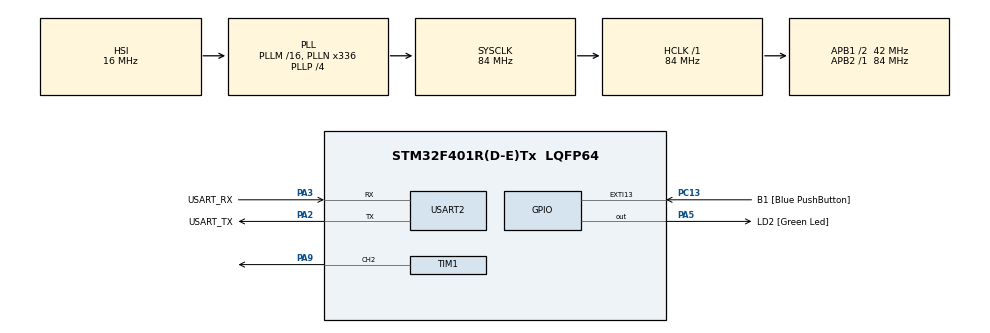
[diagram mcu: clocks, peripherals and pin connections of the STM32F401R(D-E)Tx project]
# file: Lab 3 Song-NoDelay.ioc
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Mcu.Family=STM32F4
Mcu.Name=STM32F401R(D-E)Tx
Mcu.Package=LQFP64
NVIC.EXTI15_10_IRQn=true\:0\:0\:false\:false\:true\:true\:true\:true
NVIC.PriorityGroup=NVIC_PRIORITYGROUP_0
NVIC.TIM2_IRQn=true\:0\:0\:false\:false\:true\:true\:true\:true
PA0-WKUP.Signal=S_TIM2_CH1_ETR
PA13.GPIO_Label=TMS
PA13.Mode=Serial_Wire
PA13.Signal=SYS_JTMS-SWDIO
PA14.GPIO_Label=TCK
PA14.Mode=Serial_Wire
PA14.Signal=SYS_JTCK-SWCLK
PA2.GPIO_Label=USART_TX
PA2.GPIO_Mode=GPIO_MODE_AF_PP
PA2.GPIO_PuPd=GPIO_NOPULL
PA2.GPIO_Speed=GPIO_SPEED_FREQ_LOW
PA2.Mode=Asynchronous
PA2.Signal=USART2_TX
PA3.GPIO_Label=USART_RX
PA3.GPIO_Mode=GPIO_MODE_AF_PP
PA3.GPIO_PuPd=GPIO_NOPULL
PA3.GPIO_Speed=GPIO_SPEED_FREQ_LOW
PA3.Mode=Asynchronous
PA3.Signal=USART2_RX
PA5.GPIO_Label=LD2 [Green Led]
PA5.GPIO_Mode=GPIO_MODE_OUTPUT_PP
PA5.GPIO_PuPd=GPIO_NOPULL
PA5.GPIO_Speed=GPIO_SPEED_FREQ_LOW
PA5.Signal=GPIO_Output
PA9.Signal=S_TIM1_CH2
PB3.GPIO_Label=SWO
PB3.Signal=SYS_JTDO-SWO
PC13-ANTI_TAMP.GPIO_Label=B1 [Blue PushButton]
PC13-ANTI_TAMP.GPIO_ModeDefaultEXTI=GPIO_MODE_IT_FALLING
PC13-ANTI_TAMP.GPIO_PuPd=GPIO_NOPULL
PC13-ANTI_TAMP.Signal=GPXTI13
PC14-OSC32_IN.Mode=LSE-External-Oscillator
PC14-OSC32_IN.Signal=RCC_OSC32_IN
PC15-OSC32_OUT.Mode=LSE-External-Oscillator
PC15-OSC32_OUT.Signal=RCC_OSC32_OUT
PH0\ -\ OSC_IN.Mode=HSE-External-Clock-Source
PH0\ -\ OSC_IN.Signal=RCC_OSC_IN
PH1\ -\ OSC_OUT.Mode=HSE-External-Clock-Source
PH1\ -\ OSC_OUT.Signal=RCC_OSC_OUT
ProjectManager.HeapSize=0x200
ProjectManager.StackSize=0x400
ProjectManager.TargetToolchain=STM32CubeIDE
RCC.48MHZClocksFreq_Value=48000000
RCC.AHBFreq_Value=84000000
RCC.APB1CLKDivider=RCC_HCLK_DIV2
RCC.APB1Freq_Value=42000000
RCC.APB1TimFreq_Value=84000000
RCC.APB2Freq_Value=84000000
RCC.APB2TimFreq_Value=84000000
RCC.CortexFreq_Value=84000000
RCC.HCLKFreq_Value=84000000
RCC.HSE_VALUE=8000000
RCC.HSI_VALUE=16000000
RCC.PLLN=336
RCC.PLLP=RCC_PLLP_DIV4
RCC.PLLQ=7
RCC.SYSCLKFreq_VALUE=84000000
RCC.SYSCLKSource=RCC_SYSCLKSOURCE_PLLCLK
RCC.VCOOutputFreq_Value=336000000
SH.S_TIM1_CH2.0=TIM1_CH2,PWM Generation2 CH2
SH.S_TIM2_CH1_ETR.0=TIM2_CH1
TIM1.Channel-PWM\ Generation2\ CH2=TIM_CHANNEL_2
TIM1.Prescaler=83
TIM2.Period=10000
TIM2.Prescaler=83
USART2.VirtualMode=VM_ASYNC
VP_TIM1_VS_ClockSourceINT.Mode=Internal
VP_TIM2_VS_ClockSourceINT.Mode=Internal
board=NUCLEO-F401RE

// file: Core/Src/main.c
/* USER CODE BEGIN Header */
/**
 ******************************************************************************
 * @file           : main.c
 * @brief          : Main program body
 ******************************************************************************
 * @attention
 *
 * Copyright (c) 2023 STMicroelectronics.
 * All rights reserved.
 *
 * This software is licensed under terms that can be found in the LICENSE file
 * in the root directory of this software component.
 * If no LICENSE file comes with this software, it is provided AS-IS.
 *
 ******************************************************************************
 */
/* USER CODE END Header */
#include "main.h"

/* USER CODE BEGIN Includes */
#include <stdlib.h>
#include <string.h>
#include <math.h>
/* USER CODE END Includes */

/* USER CODE BEGIN PTD */

note song2[] = {
		{"P", 	1 },
		{"C3",	0.5},
		{"E3",	0.5},
		{"G3",	0.5},
		{"C4",	0.5},
		{"C4",	0.5},
		{"G3",	0.5},
		{"E3",	0.5},
		{"C3",	0.5},
		{"C3",	0.5},
		{"D3",	0.5},
		{"E3",	0.5},
		{"F3",	0.5},
		{"G3",	0.5},
		{"A4",	0.5},
		{"B4",	0.5},
		{"C4",	0.5},

		{"B4",	1},
		{"G3",	1},
		{"G3",	5.0/12},
		{"G4",	5.0/12},
		{"F#4",	1.0/12},
		{"G4",	5.0/12},
		{"F4",	1.0/12},
		{"G4",	5.0/12},

		{"B3",	0.5},
		{"C3",	0.5},
		{"D3",	0.5},
		{"E3",	0.5},
		{"F3",	0.5},
		{"G3",	0.5},
		{"A4",	0.5},
		{"B4",	0.5},
		{"A4",	1},
		{"G3",	1},
		{"E3",	1},
		{"P",	1},

		{"C3",	0.5},
		{"E3",	0.5},
		{"G3",	0.5},
		{"E3",	0.5},
		{"C3",	0.5},
		{"E3",	0.5},
		{"G3",	0.5},
		{"E3",	0.5},
		{"F3",	0.5},
		{"A4",	0.5},
		{"C4",	0.5},
		{"A4",	0.5},
		{"C4",	1},
		{"P",	1},

		{"C4",	0.5},
		{"B4",	0.5},
		{"A4",	0.5},
		{"G3",	0.5},
		{"F3",	0.5},
		{"E3",	0.5},
		{"D3",	0.5},
		{"C3",	0.5},

		{"D3",	1.0/12},
		{"C3",	1.0/12},
		{"D3",	1.0/12},
		{"C3",	1.0/12},
		{"D3",	1.0/12},
		{"C3",	1.0/12},
		{"D3",	1.0/12},
		{"C3",	1.0/12},
		{"D3",	1.0/12},
		{"C3",	1.0/12},
		{"D3",	1.0/12},
		{"C3",	1.0/12},
		{"D3",	1.0/12},
		{"C3",	1.0/12},
		{"D3",	1.0/12},
		{"C3",	1.0/12},
		{"D3",	1.0/12},
		{"C3",	0.5},
		{"C3",	1.0},
};

/* USER CODE END PTD */

TIM_HandleTypeDef htim1;
TIM_HandleTypeDef htim2;

UART_HandleTypeDef huart2;

/* USER CODE BEGIN PV */
float BPS = 60.0 / 120.0;
const float TIME_INTERVAL = 1.0/72.0;
/* USER CODE END PV */

void SystemClock_Config(void);
static void MX_GPIO_Init(void);
static void MX_USART2_UART_Init(void);
static void MX_TIM1_Init(void);
static void MX_TIM2_Init(void);

/* USER CODE BEGIN 0 */

/**
 * @brief Conversion from note in string form to corresponding frequency
 * @retval Floating point frequency
 */
float note_to_freq(char *note) {
	switch (note[0]) {
	case 'A':
		if (note[1] == '#')
			return 58.27 * pow(2, atoi(&note[2]));
		return 55 * pow(2, (float) atoi(&note[1]));
		break;
	case 'B':
		return 61.74 * pow(2, (float) atoi(&note[1]));
		break;
	case 'C':
		if (note[1] == '#')
			return 69.30 * pow(2, atoi(&note[2]));
		return 65.41 * pow(2, (float) atoi(&note[1]));
		break;
	case 'D':
		if (note[1] == '#')
			return 77.78 * pow(2, atoi(&note[2]));
		return 73.42 * pow(2, (float) atoi(&note[1]));
		break;
	case 'E':
		return 82.41 * pow(2, (float) atoi(&note[1]));
		break;
	case 'F':
		if (note[1] == '#')
			return 92.50 * pow(2, atoi(&note[2]));
		return 87.31 * pow(2, (float) atoi(&note[1]));
		break;
	case 'G':
		if (note[1] == '#')
			return 103.83 * pow(2, atoi(&note[2]));
		return 98.00 * pow(2, (float) atoi(&note[1]));
		break;
	default:
		return 1;
		break;
	}
}

void set_pwm(float freq) {
	htim1.Init.Period = 1000000 / freq - 1;
	if (HAL_TIM_PWM_Init(&htim1) != HAL_OK)
		Error_Handler();

	TIM_OC_InitTypeDef sConfigOC = { 0 };

	sConfigOC.OCMode = TIM_OCMODE_PWM1;
	sConfigOC.Pulse = 1000000 / freq / 2 - 1;
	sConfigOC.OCPolarity = TIM_OCPOLARITY_HIGH;
	sConfigOC.OCNPolarity = TIM_OCNPOLARITY_HIGH;
	sConfigOC.OCFastMode = TIM_OCFAST_DISABLE;
	sConfigOC.OCIdleState = TIM_OCIDLESTATE_RESET;
	sConfigOC.OCNIdleState = TIM_OCNIDLESTATE_RESET;
	if (HAL_TIM_PWM_ConfigChannel(&htim1, &sConfigOC, TIM_CHANNEL_2) != HAL_OK)
		Error_Handler();
}
/**
 * @brief Given a note in string format and a duration in 4/4 plays the note requested
 * @retval None
 */
void play_note(note *val) {

	float freq = note_to_freq(val->name);
	static note *last_note = 0;

	if (freq != 1) {
		if (last_note != val) {
			last_note = val;
			set_pwm(freq);
			if (HAL_TIM_PWM_Start(&htim1, TIM_CHANNEL_2) != HAL_OK)
							Error_Handler();
		}
		if (val->duration <= TIME_INTERVAL * 2) {
			if (HAL_TIM_PWM_Stop(&htim1, TIM_CHANNEL_2) != HAL_OK)
				Error_Handler();
		}

	} else {
		if (HAL_TIM_PWM_Stop(&htim1, TIM_CHANNEL_2) != HAL_OK)
			Error_Handler();
	}

	val->duration -= TIME_INTERVAL;

}

void step_play() {
	static int i = 0;

	if(i < sizeof(song2)/sizeof(song2[0])){
		play_note(&song2[i]);

		if (song2[i].duration <= 0) {
			i++;
		}
	}

}

void HAL_TIM_PeriodElapsedCallback(TIM_HandleTypeDef *htim){
	if(htim == &htim2){
		step_play();
	}
}
/* USER CODE END 0 */

int main(void)
{

  /* MCU Configuration--------------------------------------------------------*/

  /* Reset of all peripherals, Initializes the Flash interface and the Systick. */
  HAL_Init();

  /* Configure the system clock */
  SystemClock_Config();

  /* Initialize all configured peripherals */
  MX_GPIO_Init();
  MX_USART2_UART_Init();
  MX_TIM1_Init();
  MX_TIM2_Init();
  /* USER CODE BEGIN 2 */
	HAL_TIM_Base_Start_IT(&htim2);
  /* USER CODE END 2 */

  /* Infinite loop */
	while (1) {

	}
}

void SystemClock_Config(void)
{
  RCC_OscInitTypeDef RCC_OscInitStruct = {0};
  RCC_ClkInitTypeDef RCC_ClkInitStruct = {0};

  /** Configure the main internal regulator output voltage
  */
  __HAL_RCC_PWR_CLK_ENABLE();
  __HAL_PWR_VOLTAGESCALING_CONFIG(PWR_REGULATOR_VOLTAGE_SCALE2);

  /** Initializes the RCC Oscillators according to the specified parameters
  * in the RCC_OscInitTypeDef structure.
  */
  RCC_OscInitStruct.OscillatorType = RCC_OSCILLATORTYPE_HSI;
  RCC_OscInitStruct.HSIState = RCC_HSI_ON;
  RCC_OscInitStruct.HSICalibrationValue = RCC_HSICALIBRATION_DEFAULT;
  RCC_OscInitStruct.PLL.PLLState = RCC_PLL_ON;
  RCC_OscInitStruct.PLL.PLLSource = RCC_PLLSOURCE_HSI;
  RCC_OscInitStruct.PLL.PLLM = 16;
  RCC_OscInitStruct.PLL.PLLN = 336;
  RCC_OscInitStruct.PLL.PLLP = RCC_PLLP_DIV4;
  RCC_OscInitStruct.PLL.PLLQ = 7;
  if (HAL_RCC_OscConfig(&RCC_OscInitStruct) != HAL_OK)
  {
    Error_Handler();
  }

  /** Initializes the CPU, AHB and APB buses clocks
  */
  RCC_ClkInitStruct.ClockType = RCC_CLOCKTYPE_HCLK|RCC_CLOCKTYPE_SYSCLK
                              |RCC_CLOCKTYPE_PCLK1|RCC_CLOCKTYPE_PCLK2;
  RCC_ClkInitStruct.SYSCLKSource = RCC_SYSCLKSOURCE_PLLCLK;
  RCC_ClkInitStruct.AHBCLKDivider = RCC_SYSCLK_DIV1;
  RCC_ClkInitStruct.APB1CLKDivider = RCC_HCLK_DIV2;
  RCC_ClkInitStruct.APB2CLKDivider = RCC_HCLK_DIV1;

  if (HAL_RCC_ClockConfig(&RCC_ClkInitStruct, FLASH_LATENCY_2) != HAL_OK)
  {
    Error_Handler();
  }
}

static void MX_TIM1_Init(void)
{

  TIM_ClockConfigTypeDef sClockSourceConfig = {0};
  TIM_MasterConfigTypeDef sMasterConfig = {0};
  TIM_OC_InitTypeDef sConfigOC = {0};
  TIM_BreakDeadTimeConfigTypeDef sBreakDeadTimeConfig = {0};

  htim1.Instance = TIM1;
  htim1.Init.Prescaler = 83;
  htim1.Init.CounterMode = TIM_COUNTERMODE_UP;
  htim1.Init.Period = 65535;
  htim1.Init.ClockDivision = TIM_CLOCKDIVISION_DIV1;
  htim1.Init.RepetitionCounter = 0;
  htim1.Init.AutoReloadPreload = TIM_AUTORELOAD_PRELOAD_DISABLE;
  if (HAL_TIM_Base_Init(&htim1) != HAL_OK)
  {
    Error_Handler();
  }
  sClockSourceConfig.ClockSource = TIM_CLOCKSOURCE_INTERNAL;
  if (HAL_TIM_ConfigClockSource(&htim1, &sClockSourceConfig) != HAL_OK)
  {
    Error_Handler();
  }
  if (HAL_TIM_PWM_Init(&htim1) != HAL_OK)
  {
    Error_Handler();
  }
  sMasterConfig.MasterOutputTrigger = TIM_TRGO_RESET;
  sMasterConfig.MasterSlaveMode = TIM_MASTERSLAVEMODE_DISABLE;
  if (HAL_TIMEx_MasterConfigSynchronization(&htim1, &sMasterConfig) != HAL_OK)
  {
    Error_Handler();
  }
  sConfigOC.OCMode = TIM_OCMODE_PWM1;
  sConfigOC.Pulse = 0;
  sConfigOC.OCPolarity = TIM_OCPOLARITY_HIGH;
  sConfigOC.OCNPolarity = TIM_OCNPOLARITY_HIGH;
  sConfigOC.OCFastMode = TIM_OCFAST_DISABLE;
  sConfigOC.OCIdleState = TIM_OCIDLESTATE_RESET;
  sConfigOC.OCNIdleState = TIM_OCNIDLESTATE_RESET;
  if (HAL_TIM_PWM_ConfigChannel(&htim1, &sConfigOC, TIM_CHANNEL_2) != HAL_OK)
  {
    Error_Handler();
  }
  sBreakDeadTimeConfig.OffStateRunMode = TIM_OSSR_DISABLE;
  sBreakDeadTimeConfig.OffStateIDLEMode = TIM_OSSI_DISABLE;
  sBreakDeadTimeConfig.LockLevel = TIM_LOCKLEVEL_OFF;
  sBreakDeadTimeConfig.DeadTime = 0;
  sBreakDeadTimeConfig.BreakState = TIM_BREAK_DISABLE;
  sBreakDeadTimeConfig.BreakPolarity = TIM_BREAKPOLARITY_HIGH;
  sBreakDeadTimeConfig.AutomaticOutput = TIM_AUTOMATICOUTPUT_DISABLE;
  if (HAL_TIMEx_ConfigBreakDeadTime(&htim1, &sBreakDeadTimeConfig) != HAL_OK)
  {
    Error_Handler();
  }
  HAL_TIM_MspPostInit(&htim1);

}

static void MX_TIM2_Init(void)
{

  TIM_ClockConfigTypeDef sClockSourceConfig = {0};
  TIM_MasterConfigTypeDef sMasterConfig = {0};

  htim2.Instance = TIM2;
  htim2.Init.Prescaler = 83;
  htim2.Init.CounterMode = TIM_COUNTERMODE_UP;
  htim2.Init.Period = 10000;
  htim2.Init.ClockDivision = TIM_CLOCKDIVISION_DIV1;
  htim2.Init.AutoReloadPreload = TIM_AUTORELOAD_PRELOAD_DISABLE;
  if (HAL_TIM_Base_Init(&htim2) != HAL_OK)
  {
    Error_Handler();
  }
  sClockSourceConfig.ClockSource = TIM_CLOCKSOURCE_INTERNAL;
  if (HAL_TIM_ConfigClockSource(&htim2, &sClockSourceConfig) != HAL_OK)
  {
    Error_Handler();
  }
  sMasterConfig.MasterOutputTrigger = TIM_TRGO_RESET;
  sMasterConfig.MasterSlaveMode = TIM_MASTERSLAVEMODE_DISABLE;
  if (HAL_TIMEx_MasterConfigSynchronization(&htim2, &sMasterConfig) != HAL_OK)
  {
    Error_Handler();
  }

}

static void MX_USART2_UART_Init(void)
{

  huart2.Instance = USART2;
  huart2.Init.BaudRate = 115200;
  huart2.Init.WordLength = UART_WORDLENGTH_8B;
  huart2.Init.StopBits = UART_STOPBITS_1;
  huart2.Init.Parity = UART_PARITY_NONE;
  huart2.Init.Mode = UART_MODE_TX_RX;
  huart2.Init.HwFlowCtl = UART_HWCONTROL_NONE;
  huart2.Init.OverSampling = UART_OVERSAMPLING_16;
  if (HAL_UART_Init(&huart2) != HAL_OK)
  {
    Error_Handler();
  }

}

static void MX_GPIO_Init(void)
{
  GPIO_InitTypeDef GPIO_InitStruct = {0};

  /* GPIO Ports Clock Enable */
  __HAL_RCC_GPIOC_CLK_ENABLE();
  __HAL_RCC_GPIOH_CLK_ENABLE();
  __HAL_RCC_GPIOA_CLK_ENABLE();
  __HAL_RCC_GPIOB_CLK_ENABLE();

  /*Configure GPIO pin Output Level */
  HAL_GPIO_WritePin(LD2_GPIO_Port, LD2_Pin, GPIO_PIN_RESET);

  /*Configure GPIO pin : B1_Pin */
  GPIO_InitStruct.Pin = B1_Pin;
  GPIO_InitStruct.Mode = GPIO_MODE_IT_FALLING;
  GPIO_InitStruct.Pull = GPIO_NOPULL;
  HAL_GPIO_Init(B1_GPIO_Port, &GPIO_InitStruct);

  /*Configure GPIO pin : LD2_Pin */
  GPIO_InitStruct.Pin = LD2_Pin;
  GPIO_InitStruct.Mode = GPIO_MODE_OUTPUT_PP;
  GPIO_InitStruct.Pull = GPIO_NOPULL;
  GPIO_InitStruct.Speed = GPIO_SPEED_FREQ_LOW;
  HAL_GPIO_Init(LD2_GPIO_Port, &GPIO_InitStruct);

  /* EXTI interrupt init*/
  HAL_NVIC_SetPriority(EXTI15_10_IRQn, 0, 0);
  HAL_NVIC_EnableIRQ(EXTI15_10_IRQn);

}

void Error_Handler(void)
{
	__disable_irq();
	while (1) {
	}
}
